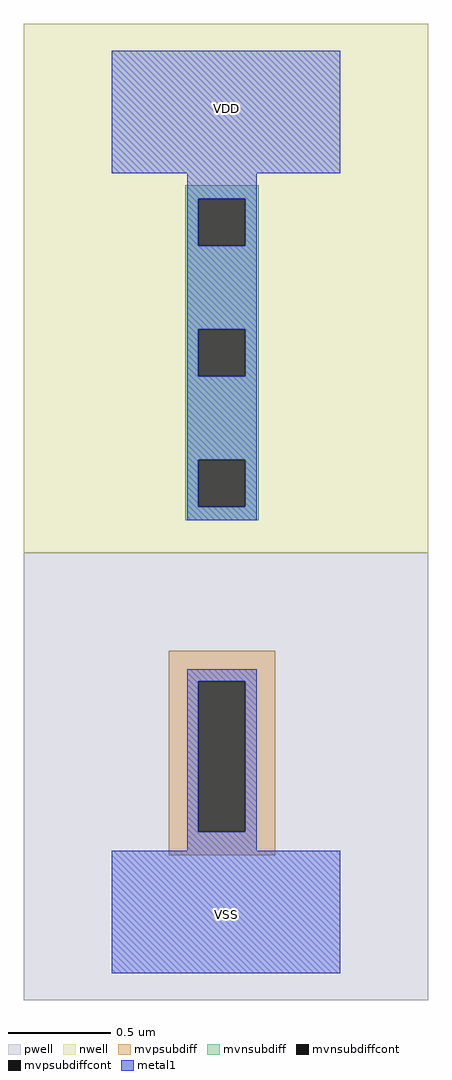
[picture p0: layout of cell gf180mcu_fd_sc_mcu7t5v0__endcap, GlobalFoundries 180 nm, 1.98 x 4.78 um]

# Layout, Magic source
magic
tech gf180mcuD
magscale 1 10
<< nwell >>
rect -86 352 310 870
<< pwell >>
rect -86 -86 310 352
<< mvpsubdiff >>
rect 56 226 160 256
rect 56 79 85 226
rect 131 79 160 226
rect 56 56 160 79
<< mvnsubdiff >>
rect 72 699 144 712
rect 72 653 85 699
rect 131 653 144 699
rect 72 571 144 653
rect 72 525 85 571
rect 131 525 144 571
rect 72 443 144 525
rect 72 397 85 443
rect 131 397 144 443
rect 72 384 144 397
<< mvpsubdiffcont >>
rect 85 79 131 226
<< mvnsubdiffcont >>
rect 85 653 131 699
rect 85 525 131 571
rect 85 397 131 443
<< metal1 >>
rect 0 724 224 844
rect 74 699 142 724
rect 74 653 85 699
rect 131 653 142 699
rect 74 571 142 653
rect 74 525 85 571
rect 131 525 142 571
rect 74 443 142 525
rect 74 397 85 443
rect 131 397 142 443
rect 74 384 142 397
rect 74 226 142 238
rect 74 79 85 226
rect 131 79 142 226
rect 74 60 142 79
rect 0 -60 224 60
<< labels >>
rlabel metal1 s 112 -2 112 -2 4 VSS
port 1 nsew
rlabel metal1 s 112 787 112 787 4 VDD
port 2 nsew
<< properties >>
string FIXED_BBOX 0 0 224 784
string MASKHINTS_DUALGATE -56 760 280 840 -56 304 24 760 192 304 280 760 -56 8 8 304 208 8 280 304 -56 -56 280 8
string MASKHINTS_NPLUS 40 352 176 744 -40 272 264 352 -40 40 40 272 176 40 264 272 -40 -40 264 40
string MASKHINTS_PPLUS -40 744 264 824 -40 352 40 744 176 352 264 744 40 40 176 272
<< end >>
